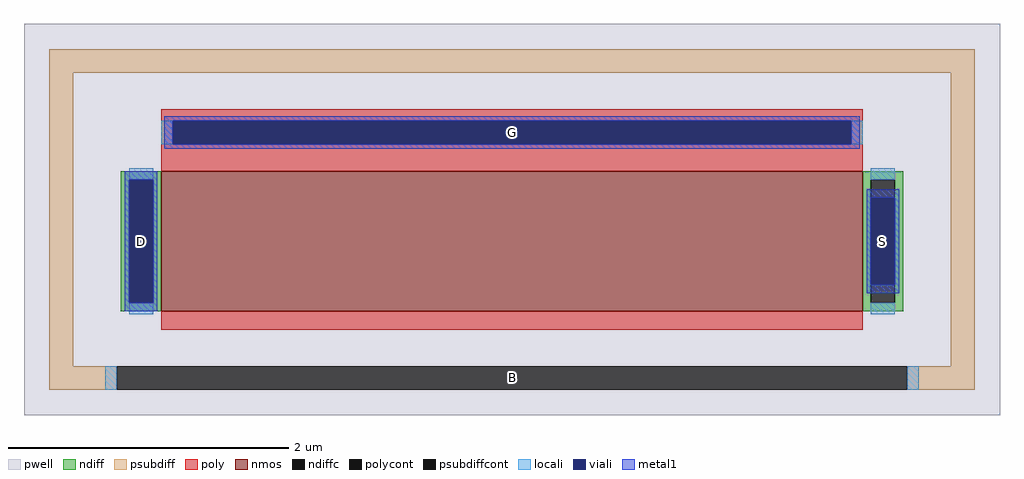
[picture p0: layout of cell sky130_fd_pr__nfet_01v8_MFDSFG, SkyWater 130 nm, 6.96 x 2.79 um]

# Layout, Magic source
magic
tech sky130A
magscale 1 2
<< pwell >>
rect -696 -279 696 279
<< nmos >>
rect -500 -131 500 69
<< ndiff >>
rect -558 57 -500 69
rect -558 -119 -546 57
rect -512 -119 -500 57
rect -558 -131 -500 -119
rect 500 57 558 69
rect 500 -119 512 57
rect 546 -119 558 57
rect 500 -131 558 -119
<< ndiffc >>
rect -546 -119 -512 57
rect 512 -119 546 57
<< psubdiff >>
rect -660 209 660 243
rect -660 -209 -626 209
rect 626 -209 660 209
rect -660 -243 -564 -209
rect 564 -243 660 -209
<< psubdiffcont >>
rect -564 -243 564 -209
<< poly >>
rect -500 141 500 157
rect -500 107 -484 141
rect 484 107 500 141
rect -500 69 500 107
rect -500 -157 500 -131
<< polycont >>
rect -484 107 484 141
<< locali >>
rect -500 107 -484 141
rect 484 107 500 141
rect -546 57 -512 73
rect -546 -135 -512 -119
rect 512 57 546 73
rect 512 -135 546 -119
rect -580 -243 -564 -209
rect 564 -243 580 -209
<< viali >>
rect -484 107 484 141
rect -546 -119 -512 57
rect 512 -93 546 31
<< metal1 >>
rect -496 141 496 147
rect -496 107 -484 141
rect 484 107 496 141
rect -496 101 496 107
rect -552 57 -506 69
rect -552 -119 -546 57
rect -512 -119 -506 57
rect 506 31 552 43
rect 506 -93 512 31
rect 546 -93 552 31
rect 506 -105 552 -93
rect -552 -131 -506 -119
<< labels >>
rlabel psubdiffcont 0 -226 0 -226 0 B
port 1 nsew
rlabel ndiffc -529 -31 -529 -31 0 D
port 2 nsew
rlabel ndiffc 529 -31 529 -31 0 S
port 3 nsew
rlabel polycont 0 124 0 124 0 G
port 4 nsew
<< properties >>
string FIXED_BBOX -643 -226 643 226
string gencell sky130_fd_pr__nfet_01v8
string library sky130
string parameters w 1 l 5 m 1 nf 1 diffcov 100 polycov 100 guard 1 glc 0 grc 0 gtc 0 gbc 1 tbcov 100 rlcov 100 topc 1 botc 0 poverlap 0 doverlap 1 lmin 0.15 wmin 0.42 class mosfet compatible {sky130_fd_pr__nfet_01v8 sky130_fd_pr__nfet_01v8_lvt  sky130_fd_bs_flash__special_sonosfet_star  sky130_fd_pr__nfet_g5v0d10v5 sky130_fd_pr__nfet_05v0_nvt  sky130_fd_pr__nfet_03v3_nvt} full_metal 0 viasrc 70 viadrn 100 viagate 100 viagb 0 viagr 0 viagl 0 viagt 0 doports 1
<< end >>
